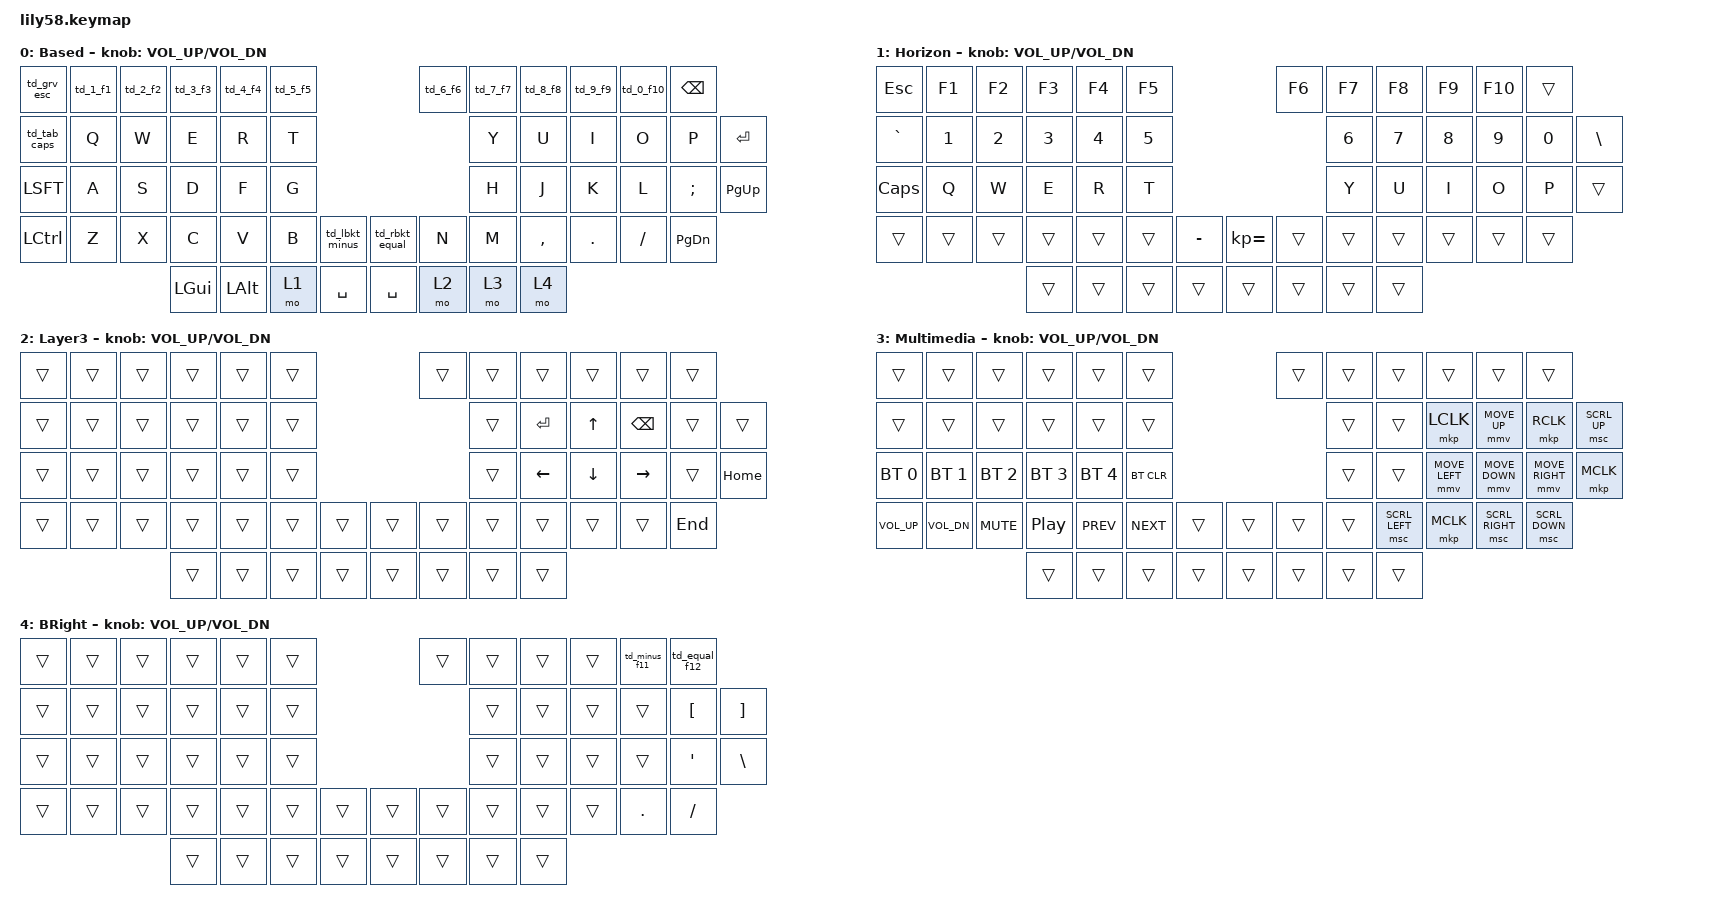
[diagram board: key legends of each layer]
/*
 * Copyright (c) 2020 The ZMK Contributors
 *
 * SPDX-License-Identifier: MIT
 */

#include <behaviors.dtsi>
#include <dt-bindings/zmk/keys.h>
#include <dt-bindings/zmk/bt.h>
#include <dt-bindings/zmk/ext_power.h>
#include <dt-bindings/zmk/pointing.h>

/ {
    behaviors {
        td_grv_esc: tap_dance_grv_esc {
            compatible = "zmk,behavior-tap-dance";
            label = "TAP_DANCE_INS_ESC";
            #binding-cells = <0>;
            tapping-term-ms = <200>;
            bindings = <&kp GRAVE>, <&kp ESCAPE>;
        };

        td_1_f1: tap_dance_1_f1 {
            compatible = "zmk,behavior-tap-dance";
            label = "TAP_DANCE_1_F1";
            #binding-cells = <0>;
            tapping-term-ms = <200>;
            bindings = <&kp N1>, <&kp F1>;
        };
        
        td_2_f2: tap_dance_2_f2 {
            compatible = "zmk,behavior-tap-dance";
            label = "TAP_DANCE_2_F2";
            #binding-cells = <0>;
            tapping-term-ms = <200>;
            bindings = <&kp N2>, <&kp F2>;
        };
        
        td_3_f3: tap_dance_3_f3 {
            compatible = "zmk,behavior-tap-dance";
            label = "TAP_DANCE_3_F3";
            #binding-cells = <0>;
            tapping-term-ms = <200>;
            bindings = <&kp N3>, <&kp F3>;
        };
        
        td_4_f4: tap_dance_4_f4 {
            compatible = "zmk,behavior-tap-dance";
            label = "TAP_DANCE_4_F4";
            #binding-cells = <0>;
            tapping-term-ms = <200>;
            bindings = <&kp N4>, <&kp F4>;
        };
        
        td_5_f5: tap_dance_5_f5 {
            compatible = "zmk,behavior-tap-dance";
            label = "TAP_DANCE_5_F5";
            #binding-cells = <0>;
            tapping-term-ms = <200>;
            bindings = <&kp N5>, <&kp F5>;
        };
        
        // FIXED: Proper naming convention
        td_6_f6: tap_dance_6_f6 {
            compatible = "zmk,behavior-tap-dance";
            label = "TAP_DANCE_6_F6";
            #binding-cells = <0>;
            tapping-term-ms = <200>;
            bindings = <&kp N6>, <&kp F6>;
        };
        
        td_7_f7: tap_dance_7_f7 {
            compatible = "zmk,behavior-tap-dance";
            label = "TAP_DANCE_7_F7";
            #binding-cells = <0>;
            tapping-term-ms = <200>;
            bindings = <&kp N7>, <&kp F7>;
        };
        
        td_8_f8: tap_dance_8_f8 {
            compatible = "zmk,behavior-tap-dance";
            label = "TAP_DANCE_8_F8";
            #binding-cells = <0>;
            tapping-term-ms = <200>;
            bindings = <&kp N8>, <&kp F8>;
        };
        
        td_9_f9: tap_dance_9_f9 {
            compatible = "zmk,behavior-tap-dance";
            label = "TAP_DANCE_9_F9";
            #binding-cells = <0>;
            tapping-term-ms = <200>;
            bindings = <&kp N9>, <&kp F9>;
        };
        
        td_0_f10: tap_dance_0_f10 {
            compatible = "zmk,behavior-tap-dance";
            label = "TAP_DANCE_0_F10";
            #binding-cells = <0>;
            tapping-term-ms = <200>;
            bindings = <&kp N0>, <&kp F10>;
        };
        
        td_minus_f11: tap_dance_minus_f11 {
            compatible = "zmk,behavior-tap-dance";
            label = "TAP_DANCE_MINUS_F11";
            #binding-cells = <0>;
            tapping-term-ms = <200>;
            bindings = <&kp MINUS>, <&kp F11>;
        };
        
        td_equal_f12: tap_dance_equal_f12 {
            compatible = "zmk,behavior-tap-dance";
            label = "TAP_DANCE_EQUAL_F12";
            #binding-cells = <0>;
            tapping-term-ms = <200>;
            bindings = <&kp EQUAL>, <&kp F12>;
        };

        td_tab_caps: tap_dance_tab_caps {
            compatible = "zmk,behavior-tap-dance";
            label = "TAP_DANCE_TAB_CAPS";
            #binding-cells = <0>;
            tapping-term-ms = <200>;
            bindings = <&kp TAB>, <&kp CAPS>;
        };

        td_lbkt_minus: tap_dance_lbkt_minus {
            compatible = "zmk,behavior-tap-dance";
            label = "TAP_DANCE_LBKT_MINUS";
            #binding-cells = <0>;
            tapping-term-ms = <200>;
            bindings = <&kp LBKT>, <&kp MINUS>;
        };
        
        td_rbkt_equal: tap_dance_rbkt_equal {
            compatible = "zmk,behavior-tap-dance";
            label = "TAP_DANCE_RBKT_EQUAL";
            #binding-cells = <0>;
            tapping-term-ms = <200>;
            bindings = <&kp RBKT>, <&kp EQUAL>;
        };
    };

    keymap {
        compatible = "zmk,keymap";

        default_layer {
            display-name = "Based";
            bindings = <
            // ----------------------- LEFT HAND -------------------------------||--------------------------- RIGHT HAND ---------------------------
            // | INS/ESC  |  1/F1  |  2/F2  |  3/F3  |  4/F4  |  5/F5  |                               |  6/F6  |  7/F7  |  8/F8  |  9/F9  | 0/F10  | BACKSPACE |
               &td_grv_esc &td_1_f1 &td_2_f2 &td_3_f3 &td_4_f4 &td_5_f5                                &td_6_f6 &td_7_f7 &td_8_f8 &td_9_f9 &td_0_f10 &kp BSPC

            // | TAB/CAPS |   Q    |   W    |   E    |   R    |   T    |                               |   Y    |   U    |   I    |   O    |   P    |   ENTER   |
               &td_tab_caps &kp Q  &kp W    &kp E    &kp R    &kp T                                   &kp Y    &kp U    &kp I    &kp O    &kp P    &kp RET
        
            // |  SHIFT   |   A    |   S    |   D    |   F    |   G    |                               |   H    |   J    |   K    |   L    |   ;    |   PG_UP   |  
               &kp LSFT   &kp A    &kp S    &kp D    &kp F    &kp G                                   &kp H    &kp J    &kp K    &kp L    &kp SEMI &kp PG_UP
        
            // |  CTRL    |   Z    |   X    |   C    |   V    |   B    |  [ / -   |  ] / =   |            |   N    |   M    |   ,    |   .    |   /    |  PG_DN    |
               &kp LCTRL  &kp Z    &kp X    &kp C    &kp V    &kp B    &td_lbkt_minus &td_rbkt_equal &kp N    &kp M    &kp COMMA &kp DOT &kp FSLH &kp PG_DN
        
            //                            |  LGUI  |  ALT   | HIGH   | SPACE  |     | SPACE  | RIGHT  | LAYER3 | MMEDIA |
                                         &kp LGUI &kp LALT &mo 1    &kp SPACE     &kp SPACE  &mo 2    &mo 3  &mo 4
            >;

            sensor-bindings = <&inc_dec_kp C_VOL_UP C_VOL_DN>;
        };

        layer_1 {
            display-name = "Horizon";
            bindings = <
               // ----------------------- LEFT HAND -------------------------------||--------------------------- RIGHT HAND ---------------------------
               // | ESCAPE   |   F1   |   F2   |   F3   |   F4   |   F5   |                               |   F6   |   F7   |   F8   |   F9   |   F10  |  TRANS    |
                  &kp ESCAPE &kp F1   &kp F2   &kp F3   &kp F4   &kp F5                                   &kp F6   &kp F7   &kp F8   &kp F9   &kp F10  &trans

            // | GRAVE   |   1    |   2    |   3    |   4    |   5    |                               |   6    |   7    |   8    |   9    |   0    |    \      |
               &kp GRAVE &kp N1   &kp N2   &kp N3   &kp N4   &kp N5                                   &kp N6   &kp N7   &kp N8   &kp N9   &kp N0   &kp BSLH

            // |  CAPS    |   Q    |   W    |   E    |   R    |   T    |                               |   Y    |   U    |   I    |   O    |   P    |  TRANS    |
               &kp CAPS   &kp Q    &kp W    &kp E    &kp R    &kp T                                    &kp Y    &kp U    &kp I    &kp O    &kp P   &trans

            // |  TRANS    |  TRANS   | TRANS  | TRANS  | TRANS  | TRANS  |   -    |   =    |            | TRANS  |  TRANS  |  TRANS  |   TRANS   | RIGHT  |  TRANS    |
               &trans   &trans  &trans   &trans   &trans   &trans   &kp MINUS &kp KP_EQUAL           &trans   &trans  &trans  &trans  &trans  &trans

            //                              | TRANS  | TRANS  | TRANS  | TRANS  |     | TRANS  | TRANS  | TRANS  | TRANS  |
                                           &trans   &trans   &trans   &trans         &trans   &trans   &trans   &trans
            >;

            sensor-bindings = <&inc_dec_kp C_VOL_UP C_VOL_DN>;
        };

        layer_2 {
            display-name = "Layer3";
            bindings = <
            // ----------------------- LEFT HAND -------------------------------||--------------------------- RIGHT HAND ---------------------------
            // |  TRANS   | TRANS  | TRANS  | TRANS  | TRANS  | TRANS  |                               | TRANS  | TRANS  | TRANS  | TRANS  | TRANS  |  TRANS    |
               &trans    &trans   &trans   &trans   &trans   &trans                                    &trans   &trans   &trans   &trans   &trans   &trans

            // |  TRANS   | TRANS  | TRANS  | TRANS  | TRANS  | TRANS  |                               | TRANS  | ENTER  | UP  | BACKSPACE | TRANS |  TRANS    |
               &trans    &trans   &trans   &trans   &trans   &trans                                    &trans   &kp RET   &kp UP   &kp BSPC   &trans   &trans

            // |  TRANS   | TRANS  | TRANS  | TRANS  | TRANS  | TRANS  |                               | TRANS  | LEFT  | DOWN  | RIGHT  |  TRANS   | HOME   |
               &trans    &trans   &trans   &trans   &trans   &trans                                    &trans   &kp LEFT   &kp DOWN   &kp RIGHT   &trans   &kp HOME

            // |  TRANS   | TRANS  | TRANS  | TRANS  | TRANS  | TRANS  | TRANS  | TRANS  |            | TRANS  | TRANS  | TRANS  | TRANS  | TRANS  |  END    |
               &trans    &trans   &trans   &trans   &trans   &trans   &trans   &trans                &trans   &trans   &trans   &trans   &trans   &kp END

            //                            | TRANS  | TRANS  | TRANS  | TRANS  |     | TRANS  | TRANS  | TRANS  | TRANS  |
                                         &trans   &trans   &trans   &trans         &trans   &trans   &trans   &trans
            >;

            sensor-bindings = <&inc_dec_kp C_VOL_UP C_VOL_DN>;
        };

        layer_3 {
            display-name = "Multimedia";
            bindings = <
            // ----------------------- LEFT HAND -------------------------------||--------------------------- RIGHT HAND ---------------------------
            // |  TRANS   | TRANS  | TRANS  | TRANS  | TRANS  | TRANS  |                               | TRANS  | TRANS  | TRANS  | TRANS  | TRANS  |  TRANS    |
               &trans    &trans   &trans   &trans   &trans   &trans                                    &trans   &trans   &trans   &trans   &trans   &trans

            // |  TRANS   | TRANS  | TRANS  | TRANS  | TRANS  | TRANS  |                               | TRANS  | TRANS  | LEFT CLICK  | MMOVE UP  | RIGHT CLICK  |  SCROLL UP    |
               &trans    &trans   &trans   &trans   &trans   &trans                                    &trans   &trans   &mkp LCLK   &mmv MOVE_UP   &mkp RCLK   &msc SCRL_UP

            // |   BT1    |  BT2   |  BT3   |  BT4   |  BT5   | BTCLR  |                               | TRANS  | TRANS  | MOVE LEFT  | MOVE DOWN  | MOVE RIGHT  |  MIDDLE CLICK    |
               &bt BT_SEL 0 &bt BT_SEL 1 &bt BT_SEL 2 &bt BT_SEL 3 &bt BT_SEL 4 &bt BT_CLR          &trans   &trans   &mmv MOVE_LEFT   &mmv MOVE_DOWN   &mmv MOVE_RIGHT   &mkp MCLK

            // |  VOL_UP  | VOL_DN | MUTE   |PLY/PAUS| PREV   | NEXT   | TRANS  | TRANS  |            | TRANS  | TRANS  | SCROLL LEFT  | MIDDLE CLICK  | SCROLL RIGHT  |  SCROLL DOWN    |
               &kp C_VOL_UP &kp C_VOL_DN &kp C_MUTE &kp C_PLAY_PAUSE &kp C_PREV &kp C_NEXT &trans &trans &trans   &trans   &msc SCRL_LEFT   &mkp MCLK   &msc SCRL_RIGHT   &msc SCRL_DOWN

            //                            | TRANS  | TRANS  | TRANS  | TRANS  |     | TRANS  | TRANS  | TRANS  | TRANS  |
                                         &trans   &trans   &trans   &trans         &trans   &trans   &trans   &trans
            >;

            sensor-bindings = <&inc_dec_kp C_VOL_UP C_VOL_DN>;
        };

        layer_4 {
            display-name = "BRight";
            bindings = <
            // ----------------------- LEFT HAND -------------------------------||--------------------------- RIGHT HAND ---------------------------
            // |  TRANS   | TRANS  | TRANS  | TRANS  | TRANS  | TRANS  |                               | TRANS  | TRANS  | TRANS  | TRANS  |   -/F11   |    =/F12      |
               &trans    &trans   &trans   &trans   &trans   &trans                                     &trans   &trans   &trans   &trans   &td_minus_f11 &td_equal_f12

            // |  TRANS   | TRANS  | TRANS  | TRANS  | TRANS  | TRANS  |                               | TRANS  | TRANS  | TRANS  | TRANS  |   [    |    ]      |
               &trans    &trans   &trans   &trans   &trans   &trans                                     &trans   &trans   &trans   &trans   &kp LBKT &kp RBKT

            // |  TRANS   | TRANS  | TRANS  | TRANS  | TRANS  | TRANS  |                               | TRANS  | TRANS  | TRANS  | TRANS  |   '    |    \      |
               &trans    &trans   &trans   &trans   &trans   &trans                                     &trans   &trans   &trans   &trans   &kp SQT  &kp BSLH

            // |  TRANS   | TRANS  | TRANS  | TRANS  | TRANS  | TRANS  | TRANS  | TRANS  |            | TRANS  | TRANS  | TRANS  | TRANS  |   .    |    /      |
               &trans    &trans   &trans   &trans   &trans   &trans   &trans   &trans                &trans   &trans   &trans   &trans   &kp DOT  &kp FSLH

            //                            | TRANS  | TRANS  | TRANS  | TRANS  |     | TRANS  | TRANS  | TRANS  | TRANS  |
                                         &trans   &trans   &trans   &trans         &trans   &trans   &trans   &trans
            >;

            sensor-bindings = <&inc_dec_kp C_VOL_UP C_VOL_DN>;
        };

        extra_3 {
            status = "reserved";
        };
    };
};
